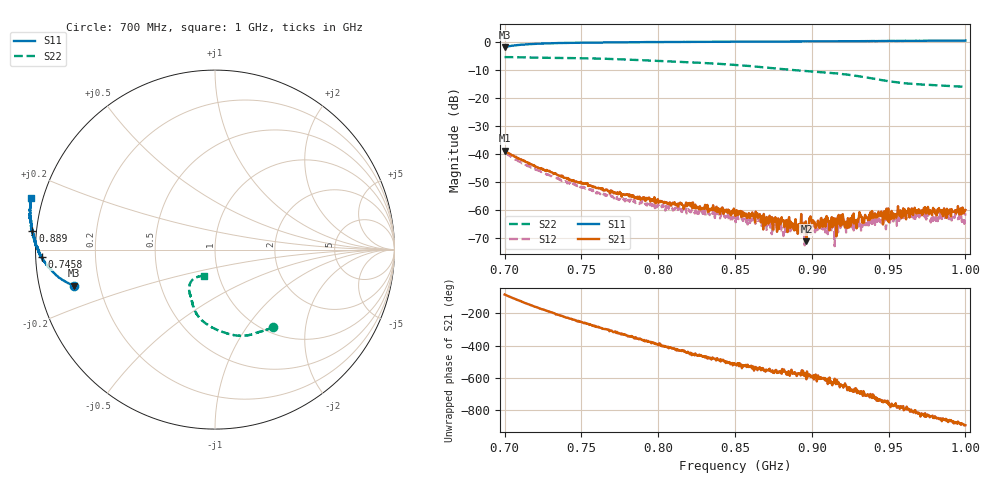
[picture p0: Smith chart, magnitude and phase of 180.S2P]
! C:\Users\rflab\Downloads\Lab5_KD_ZW\Q2\728 MHz\180.S2P
! Touchstone 1.1 file saved by VNA.EXE V1.65 (www.ke5fx.com/gpib/readme.htm)
! 11/18/2024 9:20:13 PM
!  Source: HEWLETT PACKARD,8753D,0,6.14
!  Min freq: 7.000000E+008 Hz
!  Max freq: 1.000000E+009 Hz
!  Points: 801
!  Params: S11 S21 S12 S22
# GHZ S MA R 50
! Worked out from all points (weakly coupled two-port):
!   801 points, 700 MHz to 1 GHz, reference 50 ohm
!   highest |S21| = -38.80 dB at 700 MHz (marker M1); lowest = -71.2 dB at 896.5 MHz (marker M2)
!   lowest |S11| = -1.8 dB at 700 MHz (marker M3), VSWR 9.73, Z = 5.22 - j6.22 ohm
!   |S11| at or under -10 dB: nowhere
!   |S22| runs from -16.0 to -5.4 dB; largest |S21 - S12| = 0.0037
!   S11 on the Smith chart (normalised r, x): 700 MHz: 0.10, -0.12; 745.8 MHz: 0.02, -0.02; 889 MHz: -0.01, +0.05; 1 GHz: -0.03, +0.14
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0.7  0.8137 -165.7  0.01149 -85.4  0.01072 -103.0  0.5376 -53.3
0.74575  0.967 -177.5  0.003213 118.1  0.00292 96.9  0.515 -66.3
0.75025  0.9727 -178.0  0.003062 104.7  0.002514 85.1  0.5133 -67.8
0.7735  0.9842 -179.9  0.002077 38.7  0.001566 26.5  0.4928 -76.0
0.800125  0.9952 178.5  0.001333 -37.9  0.001247 -52.0  0.4591 -85.2
0.85  1.014 176.0  0.000829 -151.7  0.000789 -172.4  0.3898 -102.8
0.865  1.017 175.5  0.000719 -177.6  0.000664 170.4  0.3605 -107.9
0.870625  1.016 175.3  0.00075 166.8  0.000425 158.8  0.3491 -109.8
0.874375  1.017 175.0  0.000541 167.1  0.000506 141.9  0.3409 -110.8
0.889  1.023 174.2  0.000567 155.5  0.000424 117.3  0.315 -114.2
0.8965  1.026 174.0  0.000275 112.0  0.000403 118.3  0.3023 -115.9
0.90025  1.027 173.7  0.000526 128.1  0.000484 120.3  0.2972 -116.8
0.903625  1.028 173.6  0.000556 115.2  0.000456 103.8  0.2936 -117.7
0.918625  1.032 172.8  0.000516 78.6  0.000477 67.7  0.2697 -122.2
0.92275  1.03 172.8  0.000616 61.4  0.00068 42.3  0.2623 -123.5
0.929125  1.032 172.2  0.000471 48.7  0.000476 1.9  0.2477 -125.3
0.931  1.034 172.0  0.000917 36.9  0.000559 18.2  0.2441 -125.6
0.941875  1.038 171.1  0.000731 0.5  0.000656 -25.4  0.2173 -126.9
0.947125  1.044 170.6  0.000948 -28.1  0.000714 -50.6  0.2057 -126.6
0.950125  1.047 170.4  0.000606 -32.9  0.00073 -42.5  0.1996 -126.0
0.9745  1.052 168.3  0.000862 -111.1  0.000676 -124.8  0.1726 -119.7
1  1.064 164.3  0.001003 -171.0  0.000872 165.2  0.1594 -112.9
